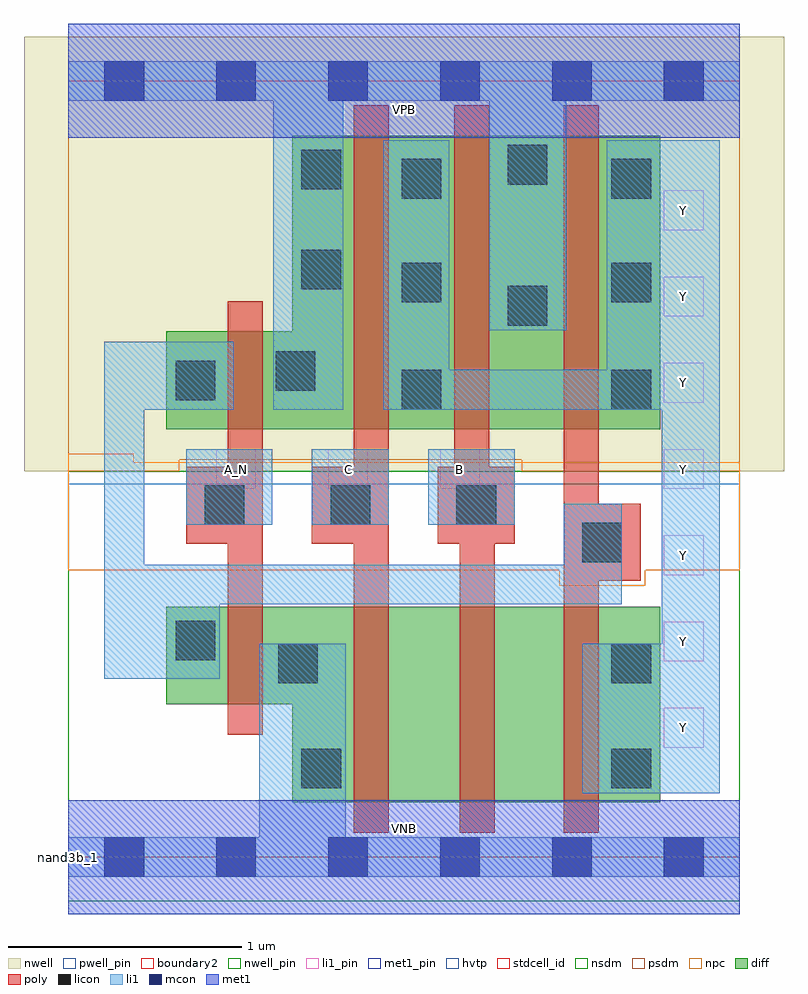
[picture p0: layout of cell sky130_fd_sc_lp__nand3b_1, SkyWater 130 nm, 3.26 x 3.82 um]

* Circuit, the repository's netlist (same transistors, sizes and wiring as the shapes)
* Copyright 2020 The SkyWater PDK Authors
*
* Licensed under the Apache License, Version 2.0 (the "License");
* you may not use this file except in compliance with the License.
* You may obtain a copy of the License at
*
*     https://www.apache.org/licenses/LICENSE-2.0
*
* Unless required by applicable law or agreed to in writing, software
* distributed under the License is distributed on an "AS IS" BASIS,
* WITHOUT WARRANTIES OR CONDITIONS OF ANY KIND, either express or implied.
* See the License for the specific language governing permissions and
* limitations under the License.
*
* SPDX-License-Identifier: Apache-2.0

.SUBCKT sky130_fd_sc_lp__nand3b_1 A_N B C VGND VNB VPB VPWR Y
*.PININFO A_N:I B:I C:I VGND:I VNB:I VPB:I VPWR:I Y:O
MMP0 Y A VPWR VPB sky130_fd_pr__pfet_01v8_hvt m=1 w=1.26U l=0.15U mult=1 sa=0.265
+ sb=0.265 sd=0.28 area=0.063 perim=1.14
MMP1 Y B VPWR VPB sky130_fd_pr__pfet_01v8_hvt m=1 w=1.26U l=0.15U mult=1 sa=0.265
+ sb=0.265 sd=0.28 area=0.063 perim=1.14
MMP2 Y C VPWR VPB sky130_fd_pr__pfet_01v8_hvt m=1 w=1.26U l=0.15U mult=1 sa=0.265
+ sb=0.265 sd=0.28 area=0.063 perim=1.14
MMIP0 A A_N VPWR VPB sky130_fd_pr__pfet_01v8_hvt m=1 w=0.42U l=0.15U mult=1 sa=0.265
+ sb=0.265 sd=0.28 area=0.063 perim=1.14
MMN0 Y A sndA VNB sky130_fd_pr__nfet_01v8 m=1 w=0.84U l=0.15U mult=1 sa=0.265 sb=0.265
+ sd=0.28 area=0.063 perim=1.14
MMN1 sndA B sndB VNB sky130_fd_pr__nfet_01v8 m=1 w=0.84U l=0.15U mult=1 sa=0.265
+ sb=0.265 sd=0.28 area=0.063 perim=1.14
MMN2 sndB C VGND VNB sky130_fd_pr__nfet_01v8 m=1 w=0.84U l=0.15U mult=1 sa=0.265
+ sb=0.265 sd=0.28 area=0.063 perim=1.14
MMIN0 A A_N VGND VNB sky130_fd_pr__nfet_01v8 m=1 w=0.42U l=0.15U mult=1 sa=0.265
+ sb=0.265 sd=0.28 area=0.063 perim=1.14
.ENDS sky130_fd_sc_lp__nand3b_1

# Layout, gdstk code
import gdstk
lib = gdstk.Library(unit=1e-6, precision=1e-09)
def R(c, l, rs):  # rectangles x0, y0, x1, y1
    for r in rs: c.add(gdstk.rectangle(r[:2], r[2:], *l))
def A(c, l, x, y, w, h, nx, ny, dx, dy):  # array of equal rectangles
    R(c, l, [(x+i*dx, y+j*dy, x+i*dx+w, y+j*dy+h) for i in range(nx) for j in range(ny)])
def P(c, l, *ps):  # polygons
    for p in ps: c.add(gdstk.Polygon(p, *l))
nwell_pin = (64, 16)
nwell = (64, 20)
diff = (65, 20)
poly = (66, 20)
licon = (66, 44)
li1_pin = (67, 16)
li1 = (67, 20)
mcon = (67, 44)
met1_pin = (68, 16)
met1 = (68, 20)
hvtp = (78, 44)
stdcell_id = (81, 4)
nsdm = (93, 44)
psdm = (94, 20)
npc = (95, 20)
pwell_pin = (122, 16)
boundary2 = (236, 0)

sky130_fd_sc_lp__nand3b_ = lib.new_cell('sky130_fd_sc_lp__nand3b_1')
R(sky130_fd_sc_lp__nand3b_, nwell_pin, [(0,3.085,2.88,3.33)])
R(sky130_fd_sc_lp__nand3b_, nwell, [(-0.19,1.655,3.07,3.52)])
P(sky130_fd_sc_lp__nand3b_, diff, [(2.54,3.095),(0.96,3.095),(0.96,2.255),(0.42,2.255),(0.42,1.835),(2.54,1.835)],
  [(2.54,1.075),(0.42,1.075),(0.42,0.655),(0.96,0.655),(0.96,0.235),(2.54,0.235)])
P(sky130_fd_sc_lp__nand3b_, poly, [(0.835,2.385),(0.685,2.385),(0.685,1.675),(0.505,1.675),(0.505,1.345),(0.685,1.345),(0.685,0.525),(0.835,0.525)],
  [(1.375,3.225),(1.225,3.225),(1.225,1.675),(1.045,1.675),(1.045,1.345),(1.225,1.345),(1.225,0.105),(1.375,0.105)],
  [(1.915,1.675),(1.805,1.675),(1.805,3.225),(1.655,3.225),(1.655,1.675),(1.585,1.675),(1.585,1.345),(1.68,1.345),(1.68,0.105),(1.83,0.105),(1.83,1.345),(1.915,1.345)],
  [(2.455,1.515),(2.275,1.515),(2.275,3.225),(2.125,3.225),(2.125,0.105),(2.275,0.105),(2.275,1.185),(2.455,1.185)])
A(sky130_fd_sc_lp__nand3b_, licon, 0.585, 1.425, 0.17, 0.17, 3, 1, 0.54, 0)
R(sky130_fd_sc_lp__nand3b_, licon, [(1,0.295,1.17,0.465), (2.33,0.295,2.5,0.465), (0.9,0.745,1.07,0.915), (2.33,0.745,2.5,0.915), (0.46,0.845,0.63,1.015), (2.205,1.265,2.375,1.435), (1.43,1.92,1.6,2.09), (2.33,1.92,2.5,2.09), (0.46,1.96,0.63,2.13), (0.89,2,1.06,2.17), (1.885,2.28,2.055,2.45), (1.43,2.38,1.6,2.55), (2.33,2.38,2.5,2.55), (1,2.435,1.17,2.605), (1.43,2.825,1.6,2.995), (2.33,2.825,2.5,2.995), (1,2.865,1.17,3.035), (1.885,2.885,2.055,3.055)])
A(sky130_fd_sc_lp__nand3b_, li1_pin, 2.555, 0.47, 0.17, 0.17, 1, 7, 0, 0.37)
A(sky130_fd_sc_lp__nand3b_, li1_pin, 0.635, 1.58, 0.17, 0.17, 3, 1, 0.48, 0)
R(sky130_fd_sc_lp__nand3b_, li1, [(0.505,1.425,0.875,1.75), (1.045,1.425,1.375,1.75), (1.545,1.425,1.915,1.75)])
P(sky130_fd_sc_lp__nand3b_, li1, [(1.805,2.26),(1.805,3.245),(1.18,3.245),(1.18,1.92),(0.88,1.92),(0.88,3.245),(0,3.245),(0,3.415),(2.88,3.415),(2.88,3.245),(2.135,3.245),(2.135,2.26)],
  [(0.82,0.085),(0.82,0.915),(1.19,0.915),(1.19,0.085),(2.88,0.085),(2.88,-0.085),(0,-0.085),(0,0.085)],
  [(0.155,2.21),(0.71,2.21),(0.71,1.92),(0.325,1.92),(0.325,1.255),(2.125,1.255),(2.125,1.515),(2.375,1.515),(2.375,1.085),(0.65,1.085),(0.65,0.765),(0.155,0.765)],
  [(1.635,2.09),(2.31,2.09),(2.31,3.075),(2.795,3.075),(2.795,0.275),(2.205,0.275),(2.205,0.915),(2.545,0.915),(2.545,1.92),(1.35,1.92),(1.35,3.075),(1.635,3.075)])
A(sky130_fd_sc_lp__nand3b_, mcon, 0.155, -0.085, 0.17, 0.17, 6, 2, 0.48, 3.33)
R(sky130_fd_sc_lp__nand3b_, met1_pin, [(0,0,2.88,0.245), (0,3.085,2.88,3.33)])
R(sky130_fd_sc_lp__nand3b_, met1, [(0,-0.245,2.88,0.245), (0,3.085,2.88,3.575)])
R(sky130_fd_sc_lp__nand3b_, hvtp, [(0,1.6,2.88,3.33)])
R(sky130_fd_sc_lp__nand3b_, stdcell_id, [(0,0,2.88,3.33)])
R(sky130_fd_sc_lp__nand3b_, nsdm, [(0,-0.19,2.88,1.655)])
P(sky130_fd_sc_lp__nand3b_, psdm, [(2.88,3.52),(0,3.52),(0,1.655),(0.475,1.655),(0.475,1.705),(1.945,1.705),(1.945,1.655),(2.88,1.655)])
P(sky130_fd_sc_lp__nand3b_, npc, [(2.88,1.695),(0.28,1.695),(0.28,1.73),(0,1.73),(0,1.23),(2.105,1.23),(2.105,1.165),(2.475,1.165),(2.475,1.23),(2.88,1.23)])
R(sky130_fd_sc_lp__nand3b_, pwell_pin, [(0,0,2.88,0.245)])
R(sky130_fd_sc_lp__nand3b_, boundary2, [(0,0,2.88,3.33)])
sky130_fd_sc_lp__nand3b_.add(gdstk.Label('VNB', (1.44,0.123), layer=64, texttype=59))
sky130_fd_sc_lp__nand3b_.add(gdstk.Label('VPB', (1.44,3.208), layer=64, texttype=5))
sky130_fd_sc_lp__nand3b_.add(gdstk.Label('nand3b_1', (0,0), layer=83, texttype=44))
sky130_fd_sc_lp__nand3b_.add(gdstk.Label('VPWR', (1.44,3.208), layer=68, texttype=5))
sky130_fd_sc_lp__nand3b_.add(gdstk.Label('VGND', (1.44,0.123), layer=68, texttype=5))
sky130_fd_sc_lp__nand3b_.add(gdstk.Label('B', (1.68,1.665), layer=67, texttype=5))
sky130_fd_sc_lp__nand3b_.add(gdstk.Label('C', (1.2,1.665), layer=67, texttype=5))
sky130_fd_sc_lp__nand3b_.add(gdstk.Label('A_N', (0.72,1.665), layer=67, texttype=5))
sky130_fd_sc_lp__nand3b_.add(gdstk.Label('Y', (2.64,0.555), layer=67, texttype=5))
sky130_fd_sc_lp__nand3b_.add(gdstk.Label('Y', (2.64,0.925), layer=67, texttype=5))
sky130_fd_sc_lp__nand3b_.add(gdstk.Label('Y', (2.64,1.295), layer=67, texttype=5))
sky130_fd_sc_lp__nand3b_.add(gdstk.Label('Y', (2.64,1.665), layer=67, texttype=5))
sky130_fd_sc_lp__nand3b_.add(gdstk.Label('Y', (2.64,2.035), layer=67, texttype=5))
sky130_fd_sc_lp__nand3b_.add(gdstk.Label('Y', (2.64,2.405), layer=67, texttype=5))
sky130_fd_sc_lp__nand3b_.add(gdstk.Label('Y', (2.64,2.775), layer=67, texttype=5))

lib.write_gds('sky130_fd_sc_lp__nand3b_1.gds')
